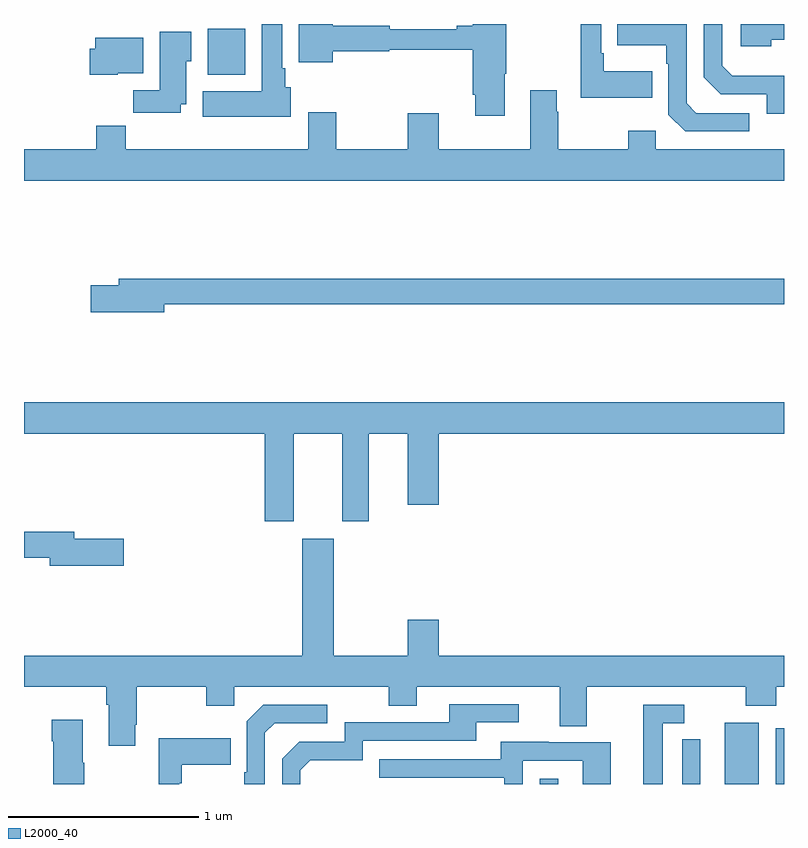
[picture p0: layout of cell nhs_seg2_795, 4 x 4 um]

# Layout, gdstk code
import gdstk
lib = gdstk.Library(unit=1e-6, precision=1e-09)
def R(c, l, rs):  # rectangles x0, y0, x1, y1
    for r in rs: c.add(gdstk.rectangle(r[:2], r[2:], *l))
def P(c, l, *ps):  # polygons
    for p in ps: c.add(gdstk.Polygon(p, *l))
L2000_40 = (2000, 40)

nhs_seg2_795 = lib.new_cell('nhs_seg2_795')
R(nhs_seg2_795, L2000_40, [(153.714,637.8,153.811,637.828), (154.688,637.8,154.867,638.122), (154.956,637.8,155,638.094), (151.967,641.534,152.164,641.776)])
P(nhs_seg2_795, L2000_40, [(155,641.527),(154.727,641.527),(154.674,641.58),(154.674,641.8),(154.578,641.8),(154.578,641.52),(154.668,641.43),(154.908,641.43),(154.908,641.328),(155,641.328)],
  [(154.307,641.551),(154.051,641.551),(154.051,641.647),(154.038,641.647),(154.038,641.8),(153.93,641.8),(153.93,641.411),(154.307,641.411)],
  [(152.404,641.466),(152.374,641.466),(152.374,641.566),(152.359,641.566),(152.359,641.8),(152.252,641.8),(152.252,641.446),(151.94,641.446),(151.94,641.312),(152.404,641.312)],
  [(153.529,641.539),(153.537,641.539),(153.537,641.8),(153.362,641.8),(153.362,641.792),(153.278,641.792),(153.278,641.773),(152.924,641.773),(152.924,641.792),(152.626,641.792),(152.626,641.8),(152.447,641.8),(152.447,641.6),(152.626,641.6),(152.626,641.656),(152.922,641.656),(152.922,641.664),(153.362,641.664),(153.362,641.428),(153.374,641.428),(153.374,641.316),(153.529,641.316)],
  [(154.816,641.331),(154.539,641.331),(154.488,641.382),(154.488,641.8),(154.123,641.8),(154.123,641.687),(154.38,641.687),(154.38,641.591),(154.392,641.591),(154.392,641.322),(154.479,641.235),(154.816,641.235)],
  [(154.934,641.718),(155,641.718),(155,641.8),(154.773,641.8),(154.773,641.684),(154.934,641.684)],
  [(151.825,641.378),(151.855,641.378),(151.855,641.604),(151.879,641.604),(151.879,641.758),(151.715,641.758),(151.715,641.452),(151.576,641.452),(151.576,641.334),(151.825,641.334)],
  [(151.494,641.54),(151.627,641.54),(151.627,641.728),(151.376,641.728),(151.376,641.67),(151.346,641.67),(151.346,641.534),(151.494,641.534)],
  [(155,641.14),(154.326,641.14),(154.326,641.239),(154.18,641.239),(154.18,641.14),(153.813,641.14),(153.813,641.339),(153.805,641.339),(153.805,641.452),(153.665,641.452),(153.665,641.14),(153.184,641.14),(153.184,641.329),(153.02,641.329),(153.02,641.14),(152.643,641.14),(152.643,641.335),(152.495,641.335),(152.495,641.14),(151.535,641.14),(151.535,641.264),(151.379,641.264),(151.379,641.14),(151,641.14),(151,640.976),(155,640.976)],
  [(151.738,640.324),(155,640.324),(155,640.46),(151.499,640.46),(151.499,640.424),(151.35,640.424),(151.35,640.282),(151.738,640.282)],
  [(152.419,639.644),(152.675,639.644),(152.675,639.183),(152.815,639.183),(152.815,639.644),(153.02,639.644),(153.02,639.27),(153.184,639.27),(153.184,639.644),(155,639.644),(155,639.808),(151,639.808),(151,639.644),(152.267,639.644),(152.267,639.183),(152.419,639.183)],
  [(151.525,639.092),(151.264,639.092),(151.264,639.128),(151,639.128),(151,638.992),(151.136,638.992),(151.136,638.95),(151.525,638.95)],
  [(153.184,638.665),(153.02,638.665),(153.02,638.476),(152.629,638.476),(152.629,639.091),(152.465,639.091),(152.465,638.476),(151,638.476),(151,638.312),(151.433,638.312),(151.433,638.216),(151.445,638.216),(151.445,638.001),(151.585,638.001),(151.585,638.113),(151.593,638.113),(151.593,638.312),(151.96,638.312),(151.96,638.213),(152.106,638.213),(152.106,638.312),(152.92,638.312),(152.92,638.213),(153.067,638.213),(153.067,638.312),(153.821,638.312),(153.821,638.104),(153.961,638.104),(153.961,638.312),(154.798,638.312),(154.798,638.213),(154.958,638.213),(154.958,638.312),(155,638.312),(155,638.476),(153.184,638.476)],
  [(152.454,637.872),(152.507,637.925),(152.784,637.925),(152.784,638.028),(153.379,638.028),(153.379,638.124),(153.604,638.124),(153.604,638.22),(153.239,638.22),(153.239,638.124),(152.688,638.124),(152.688,638.022),(152.448,638.022),(152.358,637.932),(152.358,637.8),(152.454,637.8)],
  [(154.363,638.121),(154.474,638.121),(154.474,638.217),(154.259,638.217),(154.259,637.8),(154.363,637.8)],
  [(152.268,638.07),(152.319,638.121),(152.596,638.121),(152.596,638.217),(152.259,638.217),(152.172,638.13),(152.172,637.861),(152.16,637.861),(152.16,637.8),(152.268,637.8)],
  [(151.317,637.913),(151.309,637.913),(151.309,638.137),(151.147,638.137),(151.147,638.024),(151.154,638.024),(151.154,637.8),(151.317,637.8)],
  [(151.818,637.805),(151.831,637.805),(151.831,637.901),(152.087,637.901),(152.087,638.041),(151.71,638.041),(151.71,637.8),(151.818,637.8)],
  [(154.559,637.882),(154.56,637.882),(154.56,638.036),(154.464,638.036),(154.464,637.8),(154.559,637.8)],
  [(153.624,637.923),(153.942,637.923),(153.942,637.8),(154.087,637.8),(154.087,638.019),(153.763,638.019),(153.763,638.023),(153.509,638.023),(153.509,637.929),(152.869,637.929),(152.869,637.833),(153.528,637.833),(153.528,637.8),(153.624,637.8)])

lib.write_gds('nhs_seg2_795.gds')
